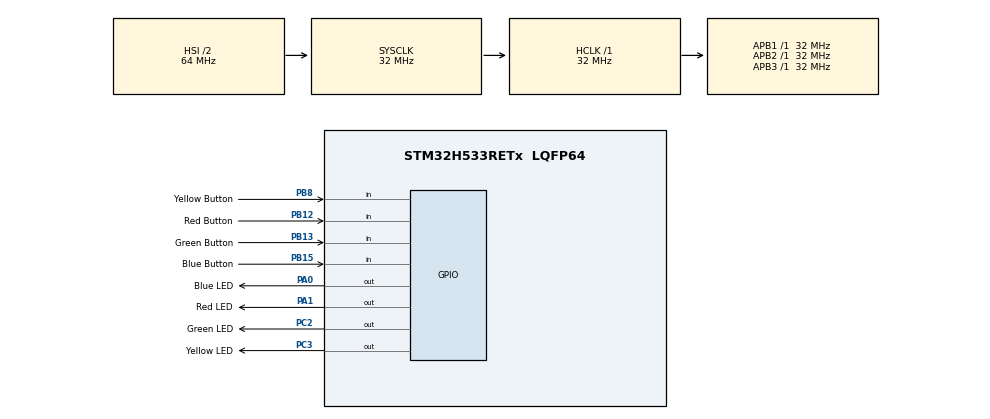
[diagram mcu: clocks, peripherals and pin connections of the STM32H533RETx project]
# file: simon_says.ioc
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BOOTPATH.BootPathName=LEGACY
BOOTPATH.UserSelectedBootPath=LEGACY
CORTEX_M33_NS.userName=CORTEX_M33
Mcu.Family=STM32H5
Mcu.Name=STM32H533RETx
Mcu.Package=LQFP64
NUCLEO-H533RE.BUTTON=1
NUCLEO-H533RE.LD4=true
NUCLEO-H533RE.VCP=true
NVIC.EXTI13_IRQn=true\:0\:0\:false\:false\:true\:false\:true\:true
NVIC.PriorityGroup=NVIC_PRIORITYGROUP_4
PA0.GPIO_Label=Blue LED
PA0.GPIO_Speed=GPIO_SPEED_FREQ_VERY_HIGH
PA0.Signal=GPIO_Output
PA1.GPIO_Label=Red LED
PA1.GPIO_Speed=GPIO_SPEED_FREQ_VERY_HIGH
PA1.Signal=GPIO_Output
PA13(JTMS/SWDIO).GPIO_Label=SWDIO
PA13(JTMS/SWDIO).Signal=DEBUG_JTMS-SWDIO
PA14(JTCK/SWCLK).GPIO_Label=SWCLK
PA14(JTCK/SWCLK).Signal=DEBUG_JTCK-SWCLK
PA15(JTDI).GPIO_Label=JTDI
PA15(JTDI).Signal=DEBUG_JTDI
PA2.Signal=USART2_TX
PA3.Signal=USART2_RX
PB12.GPIO_Label=Red Button
PB12.GPIO_PuPd=GPIO_PULLUP
PB12.Signal=GPIO_Input
PB13.GPIO_Label=Green Button
PB13.GPIO_PuPd=GPIO_PULLUP
PB13.Signal=GPIO_Input
PB15.GPIO_Label=Blue Button
PB15.GPIO_PuPd=GPIO_PULLUP
PB15.Signal=GPIO_Input
PB3(JTDO/TRACESWO).GPIO_Label=SWO
PB3(JTDO/TRACESWO).Signal=DEBUG_JTDO-SWO
PB8.GPIO_Label=Yellow Button
PB8.GPIO_PuPd=GPIO_PULLUP
PB8.Signal=GPIO_Input
PC2.GPIO_Label=Green LED
PC2.GPIO_Speed=GPIO_SPEED_FREQ_VERY_HIGH
PC2.Signal=GPIO_Output
PC3.GPIO_Label=Yellow LED
PC3.GPIO_Speed=GPIO_SPEED_FREQ_VERY_HIGH
PC3.Signal=GPIO_Output
ProjectManager.HeapSize=0x200
ProjectManager.StackSize=0x400
ProjectManager.TargetToolchain=STM32CubeIDE
RCC.ADCFreq_Value=32000000
RCC.AHBFreq_Value=32000000
RCC.APB1Freq_Value=32000000
RCC.APB1TimFreq_Value=32000000
RCC.APB2Freq_Value=32000000
RCC.APB2TimFreq_Value=32000000
RCC.APB3Freq_Value=32000000
RCC.CSI_VALUE=4000000
RCC.CortexFreq_Value=32000000
RCC.EPOD_VALUE=4000000
RCC.HCLKFreq_Value=32000000
RCC.HSE_VALUE=25000000
RCC.HSI48_VALUE=48000000
RCC.HSI_VALUE=64000000
RCC.LSE_VALUE=32768
RCC.LSIRC_VALUE=32000
RCC.SYSCLKFreq_VALUE=32000000
RCC.USBFreq_Value=48000000
RCC.VCOOutputFreq_Value=516000000
VP_BOOTPATH_VS_BOOTPATH.Mode=BP_Activate
VP_CORTEX_M33_NS_VS_Hclk.Mode=Hclk_Mode
VP_ICACHE_VS_ICACHE.Mode=DirectMappedCache
VP_MEMORYMAP_VS_MEMORYMAP.Mode=CurAppReg
VP_NUCLEO-H533RE_VS_BSP_COMMON.Mode=COMMON
VP_PWR_VS_LPOM.Mode=PowerOptimisation
VP_PWR_VS_SECSignals.Mode=Security/Privilege
board=NUCLEO-H533RE

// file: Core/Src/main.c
/* USER CODE BEGIN Header */
/**
  ******************************************************************************
  * @file           : main.c
  * @brief          : Main program body
  ******************************************************************************
  * @attention
  *
  * Copyright (c) 2025 STMicroelectronics.
  * All rights reserved.
  *
  * This software is licensed under terms that can be found in the LICENSE file
  * in the root directory of this software component.
  * If no LICENSE file comes with this software, it is provided AS-IS.
  *
  ******************************************************************************
  */
/* USER CODE END Header */
#include "main.h"

/* USER CODE BEGIN Includes */

#include <stdbool.h>

/* USER CODE END Includes */

/* USER CODE BEGIN PD */

#define DEBOUNCE_DELAY_MS 100

/* USER CODE END PD */

COM_InitTypeDef BspCOMInit;

/* USER CODE BEGIN PV */

uint64_t lastBlueDebounceTime = 0;
uint64_t lastRedDebounceTime = 0;
uint64_t lastYellowDebounceTime = 0;
uint64_t lastGreenDebounceTime = 0;

uint8_t blueButtonState = 1;
uint8_t redButtonState = 1;
uint8_t yellowButtonState = 1;
uint8_t greenButtonState = 1;

uint8_t lastBlueState = 1;
uint8_t lastRedState = 1;
uint8_t lastYellowState = 1;
uint8_t lastGreenState = 1;

/* USER CODE END PV */

void SystemClock_Config(void);
static void MX_GPIO_Init(void);
static void MX_ICACHE_Init(void);
/* USER CODE BEGIN PFP */

bool read_button(uint8_t *currReading, uint64_t *lastDebounceTime, uint8_t *buttonState);

/* USER CODE END PFP */

int main(void)
{

  /* MCU Configuration--------------------------------------------------------*/

  /* Reset of all peripherals, Initializes the Flash interface and the Systick. */
  HAL_Init();

  /* Configure the system clock */
  SystemClock_Config();

  /* Initialize all configured peripherals */
  MX_GPIO_Init();
  MX_ICACHE_Init();

  /* Initialize leds */
  BSP_LED_Init(LED_GREEN);

  /* Initialize USER push-button, will be used to trigger an interrupt each time it's pressed.*/
  BSP_PB_Init(BUTTON_USER, BUTTON_MODE_EXTI);

  /* Initialize COM1 port (115200, 8 bits (7-bit data + 1 stop bit), no parity */
  BspCOMInit.BaudRate   = 115200;
  BspCOMInit.WordLength = COM_WORDLENGTH_8B;
  BspCOMInit.StopBits   = COM_STOPBITS_1;
  BspCOMInit.Parity     = COM_PARITY_NONE;
  BspCOMInit.HwFlowCtl  = COM_HWCONTROL_NONE;
  if (BSP_COM_Init(COM1, &BspCOMInit) != BSP_ERROR_NONE)
  {
    Error_Handler();
  }

  /* Infinite loop */
  /* USER CODE BEGIN WHILE */
  while (1)
  {
	  uint8_t blueVal = HAL_GPIO_ReadPin(Blue_Button_GPIO_Port, Blue_Button_Pin);
	  uint8_t redVal = HAL_GPIO_ReadPin(Red_Button_GPIO_Port, Red_Button_Pin);
	  uint8_t greenVal = HAL_GPIO_ReadPin(Green_Button_GPIO_Port, Green_Button_Pin);
	  uint8_t yellowVal = HAL_GPIO_ReadPin(Yellow_Button_GPIO_Port, Yellow_Button_Pin);

	  uint8_t blueButtonPressed = read_button(&blueVal, &lastBlueDebounceTime, &blueButtonState);
	  uint8_t redButtonPressed = read_button(&redVal, &lastRedDebounceTime, &redButtonState);
	  uint8_t yellowButtonPressed = read_button(&yellowVal, &lastYellowDebounceTime, &yellowButtonState);
	  uint8_t greenButtonPressed = read_button(&greenVal, &lastGreenDebounceTime, &greenButtonState);

	  HAL_GPIO_WritePin(Blue_LED_GPIO_Port, Blue_LED_Pin, !blueButtonPressed);
	  HAL_GPIO_WritePin(Red_LED_GPIO_Port, Red_LED_Pin, !redButtonPressed);
	  HAL_GPIO_WritePin(Green_LED_GPIO_Port, Green_LED_Pin, !greenButtonPressed);
	  HAL_GPIO_WritePin(Yellow_LED_GPIO_Port, Yellow_LED_Pin, !yellowButtonPressed);

	  if(!blueButtonPressed && blueButtonPressed != lastBlueState) printf("Blue button pressed!\n\r");
	  if(!redButtonPressed && redButtonPressed != lastRedState) printf("Red button pressed!\n\r");
	  if(!greenButtonPressed && greenButtonPressed != lastGreenState) printf("Green button pressed!\n\r");
	  if(!yellowButtonPressed && yellowButtonPressed != lastYellowState) printf("Yellow button pressed!\n\r");

	  lastBlueState = blueButtonPressed;
	  lastRedState = redButtonPressed;
	  lastYellowState = yellowButtonPressed;
	  lastGreenState = greenButtonPressed;
    /* USER CODE END WHILE */

  }
}

void SystemClock_Config(void)
{
  RCC_OscInitTypeDef RCC_OscInitStruct = {0};
  RCC_ClkInitTypeDef RCC_ClkInitStruct = {0};

  /** Configure the main internal regulator output voltage
  */
  __HAL_PWR_VOLTAGESCALING_CONFIG(PWR_REGULATOR_VOLTAGE_SCALE3);

  while(!__HAL_PWR_GET_FLAG(PWR_FLAG_VOSRDY)) {}

  /** Initializes the RCC Oscillators according to the specified parameters
  * in the RCC_OscInitTypeDef structure.
  */
  RCC_OscInitStruct.OscillatorType = RCC_OSCILLATORTYPE_HSI;
  RCC_OscInitStruct.HSIState = RCC_HSI_ON;
  RCC_OscInitStruct.HSIDiv = RCC_HSI_DIV2;
  RCC_OscInitStruct.HSICalibrationValue = RCC_HSICALIBRATION_DEFAULT;
  RCC_OscInitStruct.PLL.PLLState = RCC_PLL_NONE;
  if (HAL_RCC_OscConfig(&RCC_OscInitStruct) != HAL_OK)
  {
    Error_Handler();
  }

  /** Initializes the CPU, AHB and APB buses clocks
  */
  RCC_ClkInitStruct.ClockType = RCC_CLOCKTYPE_HCLK|RCC_CLOCKTYPE_SYSCLK
                              |RCC_CLOCKTYPE_PCLK1|RCC_CLOCKTYPE_PCLK2
                              |RCC_CLOCKTYPE_PCLK3;
  RCC_ClkInitStruct.SYSCLKSource = RCC_SYSCLKSOURCE_HSI;
  RCC_ClkInitStruct.AHBCLKDivider = RCC_SYSCLK_DIV1;
  RCC_ClkInitStruct.APB1CLKDivider = RCC_HCLK_DIV1;
  RCC_ClkInitStruct.APB2CLKDivider = RCC_HCLK_DIV1;
  RCC_ClkInitStruct.APB3CLKDivider = RCC_HCLK_DIV1;

  if (HAL_RCC_ClockConfig(&RCC_ClkInitStruct, FLASH_LATENCY_1) != HAL_OK)
  {
    Error_Handler();
  }

  /** Configure the programming delay
  */
  __HAL_FLASH_SET_PROGRAM_DELAY(FLASH_PROGRAMMING_DELAY_0);
}

static void MX_ICACHE_Init(void)
{

  /** Enable instruction cache in 1-way (direct mapped cache)
  */
  if (HAL_ICACHE_ConfigAssociativityMode(ICACHE_1WAY) != HAL_OK)
  {
    Error_Handler();
  }
  if (HAL_ICACHE_Enable() != HAL_OK)
  {
    Error_Handler();
  }

}

static void MX_GPIO_Init(void)
{
  GPIO_InitTypeDef GPIO_InitStruct = {0};

  /* GPIO Ports Clock Enable */
  __HAL_RCC_GPIOC_CLK_ENABLE();
  __HAL_RCC_GPIOA_CLK_ENABLE();
  __HAL_RCC_GPIOB_CLK_ENABLE();

  /*Configure GPIO pin Output Level */
  HAL_GPIO_WritePin(GPIOC, Green_LED_Pin|Yellow_LED_Pin, GPIO_PIN_RESET);

  /*Configure GPIO pin Output Level */
  HAL_GPIO_WritePin(GPIOA, Blue_LED_Pin|Red_LED_Pin, GPIO_PIN_RESET);

  /*Configure GPIO pins : Green_LED_Pin Yellow_LED_Pin */
  GPIO_InitStruct.Pin = Green_LED_Pin|Yellow_LED_Pin;
  GPIO_InitStruct.Mode = GPIO_MODE_OUTPUT_PP;
  GPIO_InitStruct.Pull = GPIO_NOPULL;
  GPIO_InitStruct.Speed = GPIO_SPEED_FREQ_VERY_HIGH;
  HAL_GPIO_Init(GPIOC, &GPIO_InitStruct);

  /*Configure GPIO pins : Blue_LED_Pin Red_LED_Pin */
  GPIO_InitStruct.Pin = Blue_LED_Pin|Red_LED_Pin;
  GPIO_InitStruct.Mode = GPIO_MODE_OUTPUT_PP;
  GPIO_InitStruct.Pull = GPIO_NOPULL;
  GPIO_InitStruct.Speed = GPIO_SPEED_FREQ_VERY_HIGH;
  HAL_GPIO_Init(GPIOA, &GPIO_InitStruct);

  /*Configure GPIO pins : Red_Button_Pin Green_Button_Pin Blue_Button_Pin Yellow_Button_Pin */
  GPIO_InitStruct.Pin = Red_Button_Pin|Green_Button_Pin|Blue_Button_Pin|Yellow_Button_Pin;
  GPIO_InitStruct.Mode = GPIO_MODE_INPUT;
  GPIO_InitStruct.Pull = GPIO_PULLUP;
  HAL_GPIO_Init(GPIOB, &GPIO_InitStruct);

}

/* USER CODE BEGIN 4 */

bool read_button(uint8_t *currReading, uint64_t *lastDebounceTime, uint8_t *buttonState) {
	bool debouncedState = true;

	if(*currReading != *buttonState) {
		*buttonState = *currReading;
		*lastDebounceTime = HAL_GetTick();
	} else if((HAL_GetTick() - *lastDebounceTime) > DEBOUNCE_DELAY_MS) {
		debouncedState = !!(*buttonState);
	}

	return debouncedState;
}

/* USER CODE END 4 */

void Error_Handler(void)
{
  __disable_irq();
  while (1)
  {
  }
}
